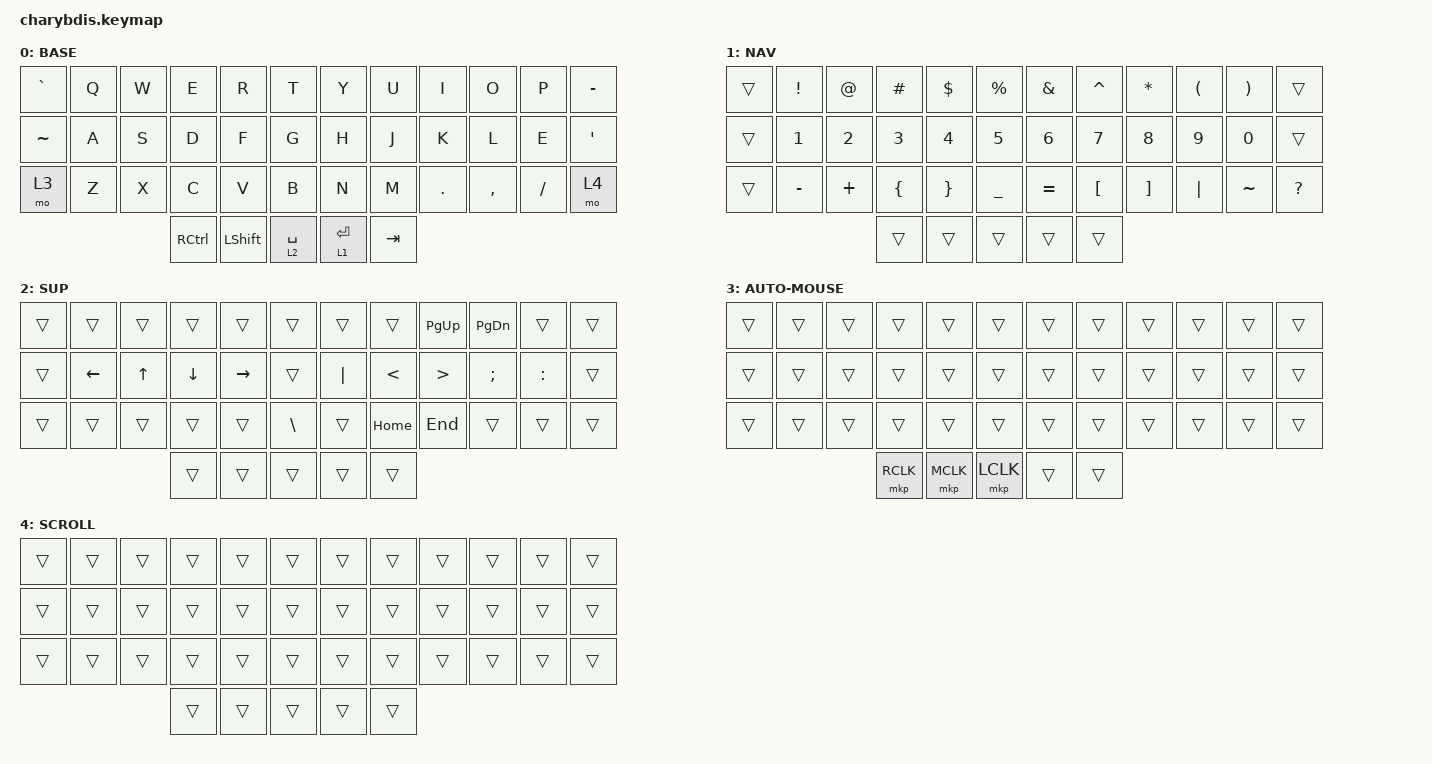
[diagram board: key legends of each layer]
#include <behaviors.dtsi>
#include <dt-bindings/zmk/keys.h>
#include <dt-bindings/zmk/bt.h>
#include <dt-bindings/zmk/ext_power.h>
#include <dt-bindings/zmk/mouse.h>
#include <dt-bindings/zmk/outputs.h>
#include <input/processors.dtsi>
#include <dt-bindings/zmk/input_transform.h>

#define U_TAPPING_TERM 200

/ {
    trackball_listener {
        compatible = "zmk,input-listener";
        device = <&trackball>;
        input-processors = <&zip_xy_scaler 1 2>, <&zip_temp_layer 4 400>; // Switch to auto-mouse temp layer, decrease sensitivity
        scroll {
            layers = <4>; // SCROLL
            input-processors = <&zip_xy_scaler 1 5>, <&zip_xy_to_scroll_mapper>, <&zip_scroll_transform (INPUT_TRANSFORM_Y_INVERT)>;
        };
    };


    combos {
        compatible = "zmk,combos";

        combo_delete {
            bindings = <&kp BSPC>;
            key-positions = <15 16>;
        };

        combo_gui {
            bindings = <&kp LEFT_GUI>;
            key-positions = <8 9>;
        };

        combo_esc {
            bindings = <&kp ESC>;
            key-positions = <19 20>;
        };

        combo_sleep {
            bindings = <&kp C_SLEEP>;
            key-positions = <17 18>;
        };

        combo_power_off {
            bindings = <&kp C_POWER>;
            key-positions = <5 6>;
        };

    };


    keymap {
        compatible = "zmk,keymap";

        BASE {
            bindings = <
&kp GRAVE   &kp Q     &kp W    &kp E        &kp R             &kp T          &kp Y       &kp U    &kp I      &kp O      &kp P      &kp MINUS
&kp TILDE   &kp A     &kp S    &kp D        &kp F             &kp G          &kp H       &kp J    &kp K      &kp L      &kp E      &kp APOS
&mo 3       &kp Z     &kp X    &kp C        &kp V             &kp B          &kp N       &kp M    &kp DOT    &kp COMMA  &kp FSLH   &mo 4
                               &kp RCTRL    &kp LEFT_SHIFT    &lt 2 SPACE    &lt 1 RET   &kp TAB
            >;
        };

        NAV {
            bindings = <
&trans    &kp EXCL    &kp AT    &kp HASH   &kp DLLR  &kp PRCNT  &kp AMPS   &kp CARET  &kp ASTRK  &kp LPAR   &kp RPAR    &trans
&trans    &kp N1      &kp N2    &kp N3     &kp N4    &kp N5     &kp N6     &kp N7     &kp N8     &kp N9     &kp N0      &trans
&trans    &kp MINUS   &kp PLUS  &kp LBRC   &kp RBRC  &kp UNDER  &kp EQUAL  &kp LBKT   &kp RBKT   &kp PIPE   &kp TILDE   &kp QMARK
                                &trans     &trans    &trans     &trans     &trans
            >;
        };

        SUP {
            bindings = <
&trans  &trans    &trans   &trans    &trans     &trans     &trans    &trans    &kp PG_UP   &kp PG_DN    &trans     &trans
&trans  &kp LEFT  &kp UP   &kp DOWN  &kp RIGHT  &trans     &kp PIPE  &kp LT    &kp GT      &kp SEMI     &kp COLON  &trans
&trans  &trans    &trans   &trans    &trans     &kp BSLH   &trans    &kp HOME  &kp END     &trans       &trans     &trans
                           &trans    &trans     &trans     &trans    &trans
            >;
        };

        AUTO-MOUSE {
            bindings = <
&trans  &trans  &trans  &trans     &trans     &trans       &trans  &trans  &trans  &trans  &trans  &trans
&trans  &trans  &trans  &trans     &trans     &trans       &trans  &trans  &trans  &trans  &trans  &trans
&trans  &trans  &trans  &trans     &trans     &trans       &trans  &trans  &trans  &trans  &trans  &trans
                        &mkp RCLK  &mkp MCLK  &mkp LCLK    &trans  &trans
            >;
        };

        SCROLL {
            bindings = <
&trans  &trans  &trans  &trans  &trans  &trans    &trans  &trans  &trans  &trans  &trans  &trans
&trans  &trans  &trans  &trans  &trans  &trans    &trans  &trans  &trans  &trans  &trans  &trans
&trans  &trans  &trans  &trans  &trans  &trans    &trans  &trans  &trans  &trans  &trans  &trans
                        &trans  &trans  &trans    &trans  &trans
            >;
        };
    };
};
